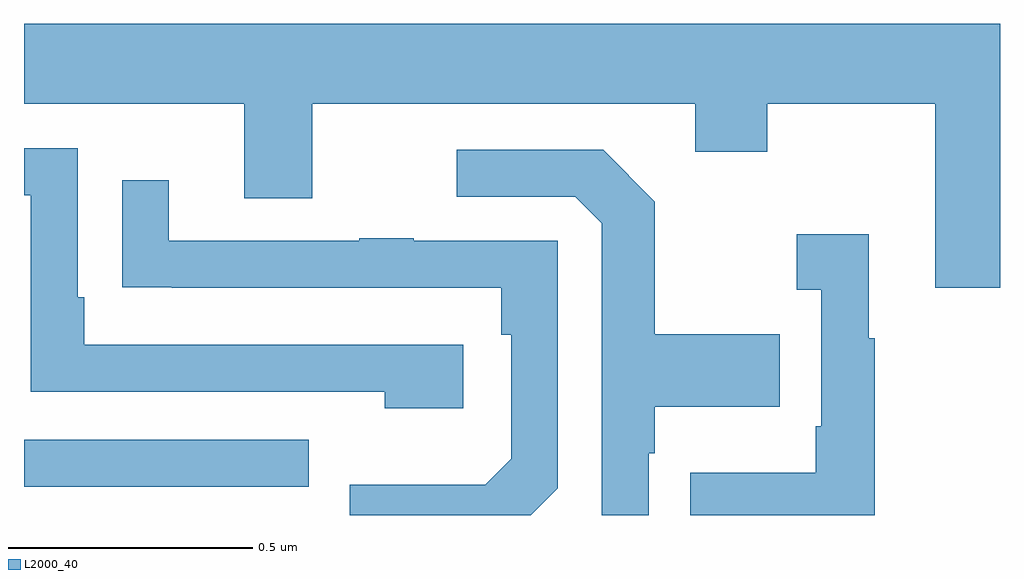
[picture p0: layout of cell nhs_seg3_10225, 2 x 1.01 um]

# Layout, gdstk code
import gdstk
lib = gdstk.Library(unit=1e-6, precision=1e-09)
def R(c, l, rs):  # rectangles x0, y0, x1, y1
    for r in rs: c.add(gdstk.rectangle(r[:2], r[2:], *l))
def P(c, l, *ps):  # polygons
    for p in ps: c.add(gdstk.Polygon(p, *l))
L2000_40 = (2000, 40)

nhs_seg3_10225 = lib.new_cell('nhs_seg3_10225')
R(nhs_seg3_10225, L2000_40, [(238,705.459,238.583,705.555)])
P(nhs_seg3_10225, L2000_40, [(240,706.408),(238,706.408),(238,706.244),(238.451,706.244),(238.451,706.05),(238.591,706.05),(238.591,706.244),(239.375,706.244),(239.375,706.145),(239.523,706.145),(239.523,706.244),(239.867,706.244),(239.867,705.867),(240,705.867)],
  [(238.9,705.75),(238.123,705.75),(238.123,705.847),(238.11,705.847),(238.11,706.152),(238,706.152),(238,706.056),(238.014,706.056),(238.014,705.654),(238.739,705.654),(238.739,705.62),(238.9,705.62)],
  [(239.28,705.527),(239.293,705.527),(239.293,705.623),(239.549,705.623),(239.549,705.771),(239.293,705.771),(239.293,706.043),(239.187,706.149),(238.887,706.149),(238.887,706.053),(239.13,706.053),(239.184,705.999),(239.184,705.4),(239.28,705.4)],
  [(239.094,705.456),(239.094,705.963),(238.799,705.963),(238.799,705.968),(238.687,705.968),(238.687,705.963),(238.297,705.963),(238.297,706.087),(238.201,706.087),(238.201,705.868),(238.303,705.868),(238.303,705.867),(238.978,705.867),(238.978,705.77),(238.998,705.77),(238.998,705.516),(238.945,705.463),(238.668,705.463),(238.668,705.4),(239.038,705.4)],
  [(239.743,705.763),(239.731,705.763),(239.731,705.976),(239.583,705.976),(239.583,705.863),(239.634,705.863),(239.634,705.583),(239.622,705.583),(239.622,705.487),(239.365,705.487),(239.365,705.4),(239.743,705.4)])

lib.write_gds('nhs_seg3_10225.gds')
